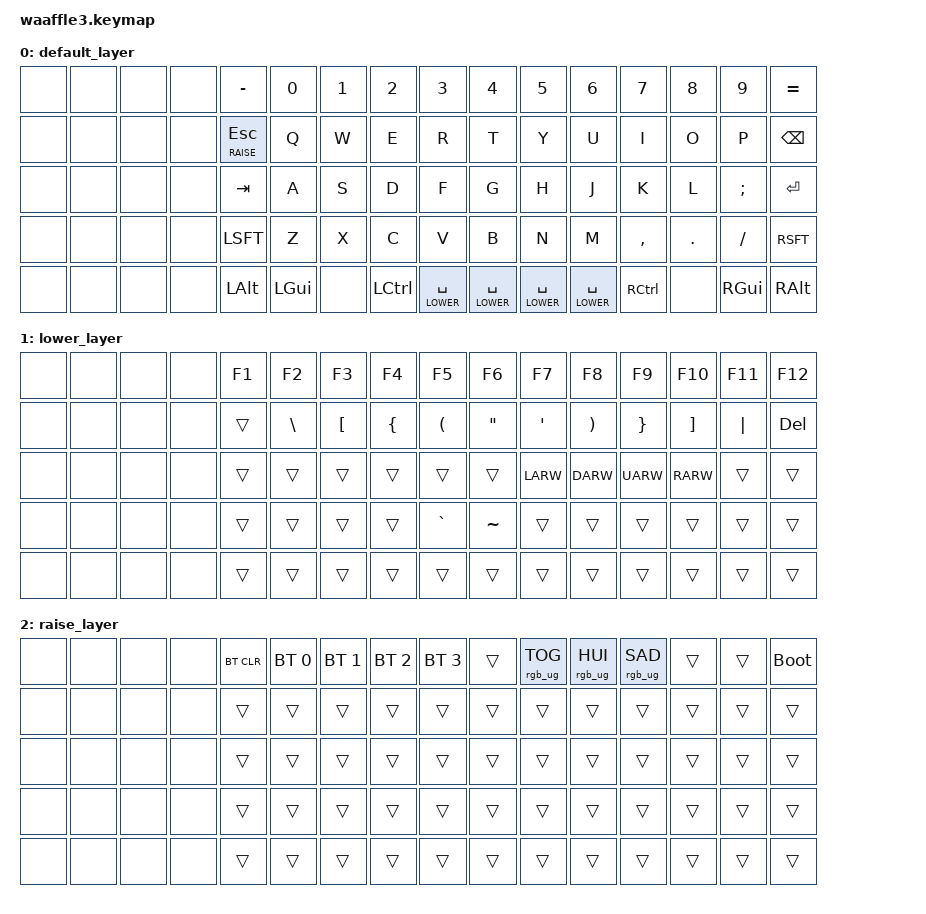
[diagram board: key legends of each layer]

#include <behaviors.dtsi>
#include <dt-bindings/zmk/bt.h>
#include <dt-bindings/zmk/keys.h>
#include <dt-bindings/zmk/rgb.h>

#define DEFAULT 0
#define LOWER   1
#define RAISE   2

/ {
    keymap {
        compatible = "zmk,keymap";

        default_layer {
            bindings = <
                &none    &none    &none    &none    &kp MINUS        &kp N0      &kp N1    &kp N2      &kp N3             &kp N4             &kp N5             &kp N6             &kp N7      &kp N8     &kp N9      &kp EQUAL
                &none    &none    &none    &none    &lt RAISE ESC    &kp Q       &kp W     &kp E       &kp R              &kp T              &kp Y              &kp U              &kp I       &kp O      &kp P       &kp BKSP
                &none    &none    &none    &none    &kp TAB          &kp A       &kp S     &kp D       &kp F              &kp G              &kp H              &kp J              &kp K       &kp L      &kp SCLN    &kp RET
                &none    &none    &none    &none    &kp LSFT         &kp Z       &kp X     &kp C       &kp V              &kp B              &kp N              &kp M              &kp CMMA    &kp DOT    &kp FSLH    &kp RSFT
                &none    &none    &none    &none    &kp LALT         &kp LGUI    &none     &kp LCTL    &lt LOWER SPACE    &lt LOWER SPACE    &lt LOWER SPACE    &lt LOWER SPACE    &kp RCTL    &none      &kp RGUI    &kp RALT
            >;
        };

        lower_layer {
            bindings = <
                &none    &none    &none    &none    &kp F1    &kp F2      &kp F3      &kp F4      &kp F5       &kp F6       &kp F7      &kp F8      &kp F9      &kp F10     &kp F11     &kp F12
                &none    &none    &none    &none    &trans    &kp BSLH    &kp LBKT    &kp LBRC    &kp LPAR     &kp DQT      &kp SQT     &kp RPAR    &kp RBRC    &kp RBKT    &kp PIPE    &kp DEL
                &none    &none    &none    &none    &trans    &trans      &trans      &trans      &trans       &trans       &kp LARW    &kp DARW    &kp UARW    &kp RARW    &trans      &trans
                &none    &none    &none    &none    &trans    &trans      &trans      &trans      &kp GRAVE    &kp TILDE    &trans      &trans      &trans      &trans      &trans      &trans
                &none    &none    &none    &none    &trans    &trans      &trans      &trans      &trans       &trans       &trans      &trans      &trans      &trans      &trans      &trans
            >;
        };

        raise_layer {
            bindings = <
                &none    &none    &none    &none    &bt BT_CLR    &bt BT_SEL 0    &bt BT_SEL 1    &bt BT_SEL 2    &bt BT_SEL 3    &trans    &rgb_ug RGB_TOG    &rgb_ug RGB_HUI    &rgb_ug RGB_SAD    &trans    &trans    &bootloader
                &none    &none    &none    &none    &trans        &trans          &trans          &trans          &trans          &trans    &trans             &trans             &trans             &trans    &trans    &trans
                &none    &none    &none    &none    &trans        &trans          &trans          &trans          &trans          &trans    &trans             &trans             &trans             &trans    &trans    &trans
                &none    &none    &none    &none    &trans        &trans          &trans          &trans          &trans          &trans    &trans             &trans             &trans             &trans    &trans    &trans
                &none    &none    &none    &none    &trans        &trans          &trans          &trans          &trans          &trans    &trans             &trans             &trans             &trans    &trans    &trans
            >;
        };

    };
};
